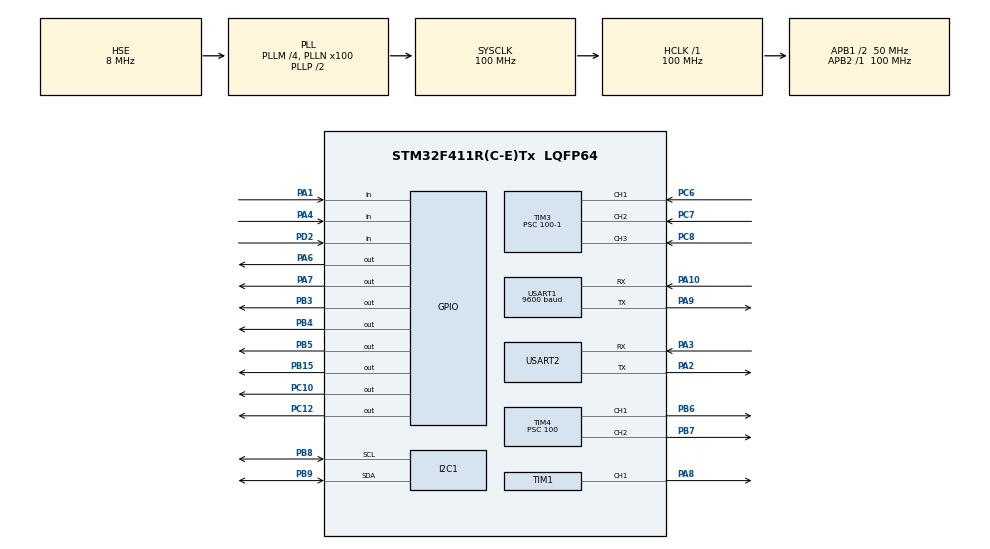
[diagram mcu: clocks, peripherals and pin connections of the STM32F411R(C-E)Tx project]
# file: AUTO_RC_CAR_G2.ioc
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Dma.Request0=USART2_RX
Dma.Request1=USART1_RX
Dma.USART1_RX.1.Direction=DMA_PERIPH_TO_MEMORY
Dma.USART1_RX.1.FIFOMode=DMA_FIFOMODE_DISABLE
Dma.USART1_RX.1.Instance=DMA2_Stream2
Dma.USART1_RX.1.MemDataAlignment=DMA_MDATAALIGN_BYTE
Dma.USART1_RX.1.MemInc=DMA_MINC_ENABLE
Dma.USART1_RX.1.Mode=DMA_NORMAL
Dma.USART1_RX.1.PeriphDataAlignment=DMA_PDATAALIGN_BYTE
Dma.USART1_RX.1.PeriphInc=DMA_PINC_DISABLE
Dma.USART1_RX.1.Priority=DMA_PRIORITY_LOW
Dma.USART2_RX.0.Direction=DMA_PERIPH_TO_MEMORY
Dma.USART2_RX.0.FIFOMode=DMA_FIFOMODE_DISABLE
Dma.USART2_RX.0.Instance=DMA1_Stream5
Dma.USART2_RX.0.MemDataAlignment=DMA_MDATAALIGN_BYTE
Dma.USART2_RX.0.MemInc=DMA_MINC_ENABLE
Dma.USART2_RX.0.Mode=DMA_NORMAL
Dma.USART2_RX.0.PeriphDataAlignment=DMA_PDATAALIGN_BYTE
Dma.USART2_RX.0.PeriphInc=DMA_PINC_DISABLE
Dma.USART2_RX.0.Priority=DMA_PRIORITY_LOW
FREERTOS.Tasks01=MotorCTR,8,128,MotorCTRTask,Default,NULL,Dynamic,NULL,NULL;StateOutput,8,128,StateOutputTask,Default,NULL,Dynamic,NULL,NULL;BluetoothCTR,8,128,BluetoothCTRTask,Default,NULL,Dynamic,NULL,NULL;ModeCTR,8,128,ModeCTRTask,Default,NULL,Dynamic,NULL,NULL;UltrasonicCTR,8,128,UltrasonicCTRTask,Default,NULL,Dynamic,NULL,NULL;AutoCTR,8,128,AutoCTRTask,Default,NULL,Dynamic,NULL,NULL
FREERTOS.configUSE_NEWLIB_REENTRANT=1
Mcu.Family=STM32F4
Mcu.Name=STM32F411R(C-E)Tx
Mcu.Package=LQFP64
NVIC.DMA1_Stream5_IRQn=true\:5\:0\:false\:false\:true\:true\:false\:true\:true
NVIC.DMA2_Stream2_IRQn=true\:5\:0\:false\:false\:true\:true\:false\:true\:true
NVIC.PriorityGroup=NVIC_PRIORITYGROUP_4
NVIC.TIM1_UP_TIM10_IRQn=true\:5\:0\:false\:false\:true\:false\:false\:true\:true
NVIC.TIM3_IRQn=true\:5\:0\:false\:false\:true\:true\:true\:true\:true
NVIC.TimeBase=TIM1_UP_TIM10_IRQn
NVIC.TimeBaseIP=TIM10
NVIC.USART2_IRQn=true\:5\:0\:false\:false\:true\:true\:true\:true\:true
PA1.GPIO_PuPd=GPIO_PULLUP
PA1.Signal=GPIO_Input
PA10.Mode=Asynchronous
PA10.Signal=USART1_RX
PA13.Mode=Serial_Wire
PA13.Signal=SYS_JTMS-SWDIO
PA14.Mode=Serial_Wire
PA14.Signal=SYS_JTCK-SWCLK
PA2.Mode=Asynchronous
PA2.Signal=USART2_TX
PA3.Mode=Asynchronous
PA3.Signal=USART2_RX
PA4.GPIO_PuPd=GPIO_PULLUP
PA4.Signal=GPIO_Input
PA6.GPIO_Speed=GPIO_SPEED_FREQ_VERY_HIGH
PA6.Signal=GPIO_Output
PA7.GPIO_Speed=GPIO_SPEED_FREQ_VERY_HIGH
PA7.Signal=GPIO_Output
PA8.Signal=S_TIM1_CH1
PA9.Mode=Asynchronous
PA9.Signal=USART1_TX
PB15.GPIO_Speed=GPIO_SPEED_FREQ_VERY_HIGH
PB15.Signal=GPIO_Output
PB3.GPIO_Speed=GPIO_SPEED_FREQ_HIGH
PB3.Signal=GPIO_Output
PB4.GPIO_Speed=GPIO_SPEED_FREQ_HIGH
PB4.Signal=GPIO_Output
PB5.GPIO_Speed=GPIO_SPEED_FREQ_HIGH
PB5.Signal=GPIO_Output
PB6.GPIO_Speed=GPIO_SPEED_FREQ_HIGH
PB6.Signal=S_TIM4_CH1
PB7.GPIO_Speed=GPIO_SPEED_FREQ_HIGH
PB7.Signal=S_TIM4_CH2
PB8.Mode=I2C
PB8.Signal=I2C1_SCL
PB9.Mode=I2C
PB9.Signal=I2C1_SDA
PC10.Signal=GPIO_Output
PC12.GPIO_Speed=GPIO_SPEED_FREQ_VERY_HIGH
PC12.Signal=GPIO_Output
PC6.Signal=S_TIM3_CH1
PC7.Signal=S_TIM3_CH2
PC8.Signal=S_TIM3_CH3
PD2.GPIO_PuPd=GPIO_PULLUP
PD2.Signal=GPIO_Input
PH0\ -\ OSC_IN.Mode=HSE-External-Oscillator
PH0\ -\ OSC_IN.Signal=RCC_OSC_IN
PH1\ -\ OSC_OUT.Mode=HSE-External-Oscillator
PH1\ -\ OSC_OUT.Signal=RCC_OSC_OUT
ProjectManager.HeapSize=0x200
ProjectManager.StackSize=0x400
ProjectManager.TargetToolchain=STM32CubeIDE
RCC.48MHZClocksFreq_Value=50000000
RCC.AHBFreq_Value=100000000
RCC.APB1CLKDivider=RCC_HCLK_DIV2
RCC.APB1Freq_Value=50000000
RCC.APB1TimFreq_Value=100000000
RCC.APB2Freq_Value=100000000
RCC.APB2TimFreq_Value=100000000
RCC.CortexFreq_Value=100000000
RCC.HCLKFreq_Value=100000000
RCC.HSE_VALUE=8000000
RCC.HSI_VALUE=16000000
RCC.LSE_VALUE=32768
RCC.PLLM=4
RCC.PLLN=100
RCC.PLLSourceVirtual=RCC_PLLSOURCE_HSE
RCC.SYSCLKFreq_VALUE=100000000
RCC.SYSCLKSource=RCC_SYSCLKSOURCE_PLLCLK
RCC.VCOOutputFreq_Value=200000000
SH.S_TIM1_CH1.0=TIM1_CH1,PWM Generation1 CH1
SH.S_TIM3_CH1.0=TIM3_CH1,Input_Capture1_from_TI1
SH.S_TIM3_CH2.0=TIM3_CH2,Input_Capture2_from_TI2
SH.S_TIM3_CH3.0=TIM3_CH3,Input_Capture3_from_TI3
SH.S_TIM4_CH1.0=TIM4_CH1,PWM Generation1 CH1
SH.S_TIM4_CH2.0=TIM4_CH2,PWM Generation2 CH2
TIM1.Channel-PWM\ Generation1\ CH1=TIM_CHANNEL_1
TIM1.Period=1000-1
TIM1.Prescaler=2000-1
TIM11.Prescaler=100-1
TIM3.Channel-Input_Capture1_from_TI1=TIM_CHANNEL_1
TIM3.Channel-Input_Capture2_from_TI2=TIM_CHANNEL_2
TIM3.Channel-Input_Capture3_from_TI3=TIM_CHANNEL_3
TIM3.ICFilter_CH1=7
TIM3.ICFilter_CH2=7
TIM3.ICFilter_CH3=7
TIM3.Prescaler=100-1
TIM4.Channel-PWM\ Generation1\ CH1=TIM_CHANNEL_1
TIM4.Channel-PWM\ Generation2\ CH2=TIM_CHANNEL_2
TIM4.Period=1000-1
TIM4.Prescaler=100
USART1.BaudRate=9600
USART1.VirtualMode=VM_ASYNC
USART2.VirtualMode=VM_ASYNC
VP_FREERTOS_VS_CMSIS_V2.Mode=CMSIS_V2
VP_SYS_VS_tim10.Mode=TIM10
VP_TIM11_VS_ClockSourceINT.Mode=Enable_Timer
VP_TIM1_VS_ClockSourceINT.Mode=Internal
VP_TIM3_VS_ClockSourceINT.Mode=Internal
VP_TIM4_VS_ClockSourceINT.Mode=Internal
board=custom

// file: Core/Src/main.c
/* USER CODE BEGIN Header */
/**
  ******************************************************************************
  * @file           : main.c
  * @brief          : Main program body
  ******************************************************************************
  * @attention
  *
  * Copyright (c) 2025 STMicroelectronics.
  * All rights reserved.
  *
  * This software is licensed under terms that can be found in the LICENSE file
  * in the root directory of this software component.
  * If no LICENSE file comes with this software, it is provided AS-IS.
  *
  ******************************************************************************
  */
/* USER CODE END Header */
#include "main.h"
#include "cmsis_os.h"
#include "dma.h"
#include "i2c.h"
#include "tim.h"
#include "usart.h"
#include "gpio.h"

/* USER CODE BEGIN Includes */
#include "button.h"
#include "buzzer.h"
#include "delay_us.h"
#include "fnd.h"
#include "lcd.h"
#include "motor.h"
#include "ultrasonic.h"
/* USER CODE END Includes */

void SystemClock_Config(void);
void MX_FREERTOS_Init(void);

int main(void)
{

  /* MCU Configuration--------------------------------------------------------*/

  /* Reset of all peripherals, Initializes the Flash interface and the Systick. */
  HAL_Init();

  /* Configure the system clock */
  SystemClock_Config();

  /* Initialize all configured peripherals */
  MX_GPIO_Init();
  MX_DMA_Init();
  MX_TIM4_Init();
  MX_USART2_UART_Init();
  MX_USART1_UART_Init();
  MX_TIM11_Init();
  MX_TIM3_Init();
  MX_TIM1_Init();
  MX_I2C1_Init();
  /* USER CODE BEGIN 2 */
  // Buzzer Timer PWM
  HAL_TIM_PWM_Start(&htim1, TIM_CHANNEL_1);
  // Ultrasonic Timer Interrupt
  HAL_TIM_IC_Start_IT(&htim3, TIM_CHANNEL_1);
  HAL_TIM_IC_Start_IT(&htim3, TIM_CHANNEL_2);
  HAL_TIM_IC_Start_IT(&htim3, TIM_CHANNEL_3);
  // Motor Timer PWM
  HAL_TIM_PWM_Start(&htim4, TIM_CHANNEL_1);
  HAL_TIM_PWM_Start(&htim4, TIM_CHANNEL_2);
  // delay_us Timer
  HAL_TIM_Base_Start(&htim11);
  // LCD Initialize
  i2cLCD_Init();
  /* USER CODE END 2 */

  /* Init scheduler */
  osKernelInitialize();  /* Call init function for freertos objects (in cmsis_os2.c) */
  MX_FREERTOS_Init();

  /* Start scheduler */
  osKernelStart();

  /* We should never get here as control is now taken by the scheduler */

  /* Infinite loop */
  while (1)
  {

  }
}

void SystemClock_Config(void)
{
  RCC_OscInitTypeDef RCC_OscInitStruct = {0};
  RCC_ClkInitTypeDef RCC_ClkInitStruct = {0};

  /** Configure the main internal regulator output voltage
  */
  __HAL_RCC_PWR_CLK_ENABLE();
  __HAL_PWR_VOLTAGESCALING_CONFIG(PWR_REGULATOR_VOLTAGE_SCALE1);

  /** Initializes the RCC Oscillators according to the specified parameters
  * in the RCC_OscInitTypeDef structure.
  */
  RCC_OscInitStruct.OscillatorType = RCC_OSCILLATORTYPE_HSE;
  RCC_OscInitStruct.HSEState = RCC_HSE_ON;
  RCC_OscInitStruct.PLL.PLLState = RCC_PLL_ON;
  RCC_OscInitStruct.PLL.PLLSource = RCC_PLLSOURCE_HSE;
  RCC_OscInitStruct.PLL.PLLM = 4;
  RCC_OscInitStruct.PLL.PLLN = 100;
  RCC_OscInitStruct.PLL.PLLP = RCC_PLLP_DIV2;
  RCC_OscInitStruct.PLL.PLLQ = 4;
  if (HAL_RCC_OscConfig(&RCC_OscInitStruct) != HAL_OK)
  {
    Error_Handler();
  }

  /** Initializes the CPU, AHB and APB buses clocks
  */
  RCC_ClkInitStruct.ClockType = RCC_CLOCKTYPE_HCLK|RCC_CLOCKTYPE_SYSCLK
                              |RCC_CLOCKTYPE_PCLK1|RCC_CLOCKTYPE_PCLK2;
  RCC_ClkInitStruct.SYSCLKSource = RCC_SYSCLKSOURCE_PLLCLK;
  RCC_ClkInitStruct.AHBCLKDivider = RCC_SYSCLK_DIV1;
  RCC_ClkInitStruct.APB1CLKDivider = RCC_HCLK_DIV2;
  RCC_ClkInitStruct.APB2CLKDivider = RCC_HCLK_DIV1;

  if (HAL_RCC_ClockConfig(&RCC_ClkInitStruct, FLASH_LATENCY_3) != HAL_OK)
  {
    Error_Handler();
  }
}

void HAL_TIM_PeriodElapsedCallback(TIM_HandleTypeDef *htim)
{
  if (htim->Instance == TIM10)
  {
    HAL_IncTick();
  }
}

void Error_Handler(void)
{
  __disable_irq();
  while (1)
  {
  }
}

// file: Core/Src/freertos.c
/* USER CODE BEGIN Header */
/**
  ******************************************************************************
  * File Name          : freertos.c
  * Description        : Code for freertos applications
  ******************************************************************************
  * @attention
  *
  * Copyright (c) 2025 STMicroelectronics.
  * All rights reserved.
  *
  * This software is licensed under terms that can be found in the LICENSE file
  * in the root directory of this software component.
  * If no LICENSE file comes with this software, it is provided AS-IS.
  *
  ******************************************************************************
  */
/* USER CODE END Header */

#include "FreeRTOS.h"
#include "task.h"
#include "main.h"
#include "cmsis_os.h"

/* USER CODE BEGIN Includes */
#include "dma.h"
#include "i2c.h"
#include "tim.h"
#include "usart.h"
#include "gpio.h"

#include "stdio.h"

#include "button.h"
#include "buzzer.h"
#include "delay_us.h"
#include "fnd.h"
#include "lcd.h"
#include "motor.h"
#include "ultrasonic.h"
/* USER CODE END Includes */

/* USER CODE BEGIN PD */
#define SPEED_BASE				450
#define SPEED_RATIO				0.1
#define SPEED_M_BT				60

#define DIST_STD_1				14
#define DIST_STD_2				19
#define DIST_STD_3				26
#define DIST_STD_4				40

#define DIST_STD_11				15
#define DIST_STD_12				25
#define DIST_STD_13				35
#define DIST_STD_14				45

#define BUZZER_TICK				50

#define PHOTO_PORT_1				GPIOA
#define PHOTO_PIN_1				GPIO_PIN_1
#define PHOTO_PORT_2				GPIOA
#define PHOTO_PIN_2				GPIO_PIN_4

/* USER CODE END PD */

/* USER CODE BEGIN PM */
#ifdef __GNUC__
/* With GCC small printf (option LD Linker->Libraries->Small printf
 * set to 'Yes') calls __io_putchar() */
#define PUTCHAR_PROTOTYPE int  __io_putchar(int ch)
#else
#define PUTCHAR_PROTOTYPE int  fputc(int ch, FILE *f)
#endif /* __GNUC__*/

/** @brief Retargets the C library printf function to the USART.
 *  @param None
 *  @retval None
 */
PUTCHAR_PROTOTYPE {
  /* Place your implementation of fputc here */
  /* e.g. write a character to the USART2 and Loop
     until the end of transmission */
  if(ch == '\n')
    HAL_UART_Transmit(&huart2, (uint8_t*) "\r", 1, 0xFFFF);
    HAL_UART_Transmit(&huart2, (uint8_t*) &ch, 1, 0xFFFF);
}
/* USER CODE END PM */

/* USER CODE BEGIN Variables */
uint8_t rxData_1 = 0, rxData_2 = 0;
uint8_t mcMode;
uint16_t baseSpeed_0 = 0;
uint16_t baseSpeed_1 = 0;
uint16_t baseSpeed_2 = 0;
uint16_t mtSpeed_R = 0, mtSpeed_L = 0;

uint8_t ctrMode = 0;

uint8_t btMode = 'S';
uint8_t btSpeed = 0;

extern uint8_t distCenter, distLeft, distRight;

uint32_t tickCur_1 = 0, tickLast_1 = 0;		// Buzzer Tick
uint8_t buzzerFlag_1 = 0, songIndex_1 = 0;	// 일반 Buzzer
uint8_t buzzerFlag_2 = 0, songIndex_2 = 0;	// 후진 Buzzer

uint8_t lcdMode = 0;

uint8_t rxPhoto_1 = 0, rxPhoto_2 = 0;
uint8_t photoFlag_1 = 0, photoFlag_2 = 0;
uint16_t countRight = 0, countLeft = 0;
uint32_t tickCur_2 = 0, tickLast_2 = 0;		// PhotoInterrupt Tick
uint8_t mpmRight = 0, mpmLeft = 0;
char mpmSpeed[16];
/* USER CODE END Variables */
/* Definitions for MotorCTR */
osThreadId_t MotorCTRHandle;
const osThreadAttr_t MotorCTR_attributes = {
  .name = "MotorCTR",
  .stack_size = 128 * 4,
  .priority = (osPriority_t) osPriorityLow,
};
/* Definitions for StateOutput */
osThreadId_t StateOutputHandle;
const osThreadAttr_t StateOutput_attributes = {
  .name = "StateOutput",
  .stack_size = 128 * 4,
  .priority = (osPriority_t) osPriorityLow,
};
/* Definitions for BluetoothCTR */
osThreadId_t BluetoothCTRHandle;
const osThreadAttr_t BluetoothCTR_attributes = {
  .name = "BluetoothCTR",
  .stack_size = 128 * 4,
  .priority = (osPriority_t) osPriorityLow,
};
/* Definitions for ModeCTR */
osThreadId_t ModeCTRHandle;
const osThreadAttr_t ModeCTR_attributes = {
  .name = "ModeCTR",
  .stack_size = 128 * 4,
  .priority = (osPriority_t) osPriorityLow,
};
/* Definitions for UltrasonicCTR */
osThreadId_t UltrasonicCTRHandle;
const osThreadAttr_t UltrasonicCTR_attributes = {
  .name = "UltrasonicCTR",
  .stack_size = 128 * 4,
  .priority = (osPriority_t) osPriorityLow,
};
/* Definitions for AutoCTR */
osThreadId_t AutoCTRHandle;
const osThreadAttr_t AutoCTR_attributes = {
  .name = "AutoCTR",
  .stack_size = 128 * 4,
  .priority = (osPriority_t) osPriorityLow,
};

/* USER CODE BEGIN FunctionPrototypes */
void HAL_UART_RxCpltCallback(UART_HandleTypeDef *huart) {
	if (huart->Instance == USART1) {
		if (rxData_1 == 'Y') {
			buttonFlag = 1;
		}

		if (rxData_1 > 200) {
			btSpeed = 0;
			btMode = 0;
		}
		else if (rxData_1 >= 48 && rxData_1 <= 57) {
			btSpeed = rxData_1 - 48;
		}
		else if (rxData_1 > 64) {
			btMode = rxData_1;
		}
		HAL_UART_Receive_DMA(&huart1, &rxData_1, 1);
	}

	if (huart->Instance == USART2) {
		HAL_UART_Receive_DMA(&huart2, &rxData_2, 1);
	}
}

/* USER CODE END FunctionPrototypes */

void MotorCTRTask(void *argument);
void StateOutputTask(void *argument);
void BluetoothCTRTask(void *argument);
void ModeCTRTask(void *argument);
void UltrasonicCTRTask(void *argument);
void AutoCTRTask(void *argument);

void MX_FREERTOS_Init(void); /* (MISRA C 2004 rule 8.1) */

void MX_FREERTOS_Init(void) {
  /* USER CODE BEGIN Init */
HAL_UART_Receive_DMA(&huart1, &rxData_1, 1);
HAL_UART_Receive_DMA(&huart2, &rxData_2, 1);
  /* USER CODE END Init */

  /* Create the thread(s) */
  /* creation of MotorCTR */
  MotorCTRHandle = osThreadNew(MotorCTRTask, NULL, &MotorCTR_attributes);

  /* creation of StateOutput */
  StateOutputHandle = osThreadNew(StateOutputTask, NULL, &StateOutput_attributes);

  /* creation of BluetoothCTR */
  BluetoothCTRHandle = osThreadNew(BluetoothCTRTask, NULL, &BluetoothCTR_attributes);

  /* creation of ModeCTR */
  ModeCTRHandle = osThreadNew(ModeCTRTask, NULL, &ModeCTR_attributes);

  /* creation of UltrasonicCTR */
  UltrasonicCTRHandle = osThreadNew(UltrasonicCTRTask, NULL, &UltrasonicCTR_attributes);

  /* creation of AutoCTR */
  AutoCTRHandle = osThreadNew(AutoCTRTask, NULL, &AutoCTR_attributes);

}

void MotorCTRTask(void *argument)
{
  /* USER CODE BEGIN MotorCTRTask */
  /* Infinite loop */
	for(;;) {
		motorSelect(mcMode);
		baseSpeed_0 = SPEED_BASE + (btSpeed * SPEED_M_BT);

		TIM4->CCR2 = mtSpeed_R;
		TIM4->CCR1 = mtSpeed_L;

		rxPhoto_1 = HAL_GPIO_ReadPin(PHOTO_PORT_1, PHOTO_PIN_1);
		rxPhoto_2 = HAL_GPIO_ReadPin(PHOTO_PORT_2, PHOTO_PIN_2);

		if (rxPhoto_1 == 1 && rxPhoto_1 != photoFlag_1) {
			countRight++;
			photoFlag_1 = rxPhoto_1;
		}
		else if (rxPhoto_1 == 0) {
			photoFlag_1 = rxPhoto_1;
		}

		if (rxPhoto_2 == 1 && rxPhoto_2 != photoFlag_2) {
			countLeft++;
			photoFlag_2 = rxPhoto_2;
		}
		else if (rxPhoto_2 == 0) {
			photoFlag_2 = rxPhoto_2;
		}

		tickCur_2 = xTaskGetTickCount();

		if ((tickCur_2 - tickLast_2) > 1000) {
			mpmRight = (countRight * 63) / 100;
			mpmLeft = (countLeft * 63) / 100;
			sprintf(mpmSpeed, " R %2d L %2d mpm  ", mpmRight, mpmLeft);

			countRight = 0;
			countLeft = 0;
			tickLast_2 = tickCur_2;
		}

		osDelay(1);
	}
  /* USER CODE END MotorCTRTask */
}

void StateOutputTask(void *argument)
{
  /* USER CODE BEGIN StateOutputTask */
  /* Infinite loop */
	for(;;) {
		moveCursor(0, 0);
		switch (ctrMode) {
			case 1:
				lcdString("BT Mode ");
				break;
			case 2:
				lcdString("AutoMode");
				break;
			case 4: case 6: case 8:
				lcdString("AutoTest");
				break;
			default:
				lcdString("Ready   ");
				break;
		}

		moveCursor(0, 8);
		switch (mcMode) {
			case 0: case 7:
				lcdString(" Stop   ");
				break;
			case 1:
				lcdString(" Front  ");
				break;
			case 2:
				lcdString(" Back   ");
				break;
			case 3: case 5:
				lcdString(" Left   ");
				break;
			case 4: case 6:
				lcdString(" Right  ");
				break;
			default:
				lcdString("        ");
				break;
		}

		moveCursor(1, 0);
		lcdString(mpmSpeed);

		fndOut(ctrMode);

		if (ctrMode == 1 && rxData_1 == 'X') {
			buzzerFlag_1 = 1;
		}
		else if (ctrMode == 1 && rxData_1 == 'x') {
			buzzerFlag_1 = 0;
		}
		else if (ctrMode == 2) {
			buzzerFlag_1 = 1;
		}
		else {
			buzzerFlag_1 = 0;
		}

		if (ctrMode == 1 && mcMode == 2) {
			buzzerFlag_2 = 1;
		}
		else {
			buzzerFlag_2 = 0;
		}

		tickCur_1 = xTaskGetTickCount();

		if (buzzerFlag_1 == 1) {
			if ((tickCur_1 - tickLast_1) >= (BUZZER_TICK * songLength_4[songIndex_1])) {
				songIndex_1++;
				if (songIndex_1 >= songNote_4_Len) {
					songIndex_1 = 0;
				}
				tickLast_1 = tickCur_1;
			}
			buzzerStart(songNote_4[songIndex_1], baseSpeed_0);
		}
		else if (buzzerFlag_1 == 0 && buzzerFlag_2 == 1) {
			if ((tickCur_1 - tickLast_1) >= (BUZZER_TICK * songLength_2[songIndex_2])) {
				songIndex_2++;
				if (songIndex_2 >= songNote_2_Len) {
					songIndex_2 = 0;
				}
				tickLast_1 = tickCur_1;
			}
			buzzerStart(songNote_2[songIndex_2], baseSpeed_0);
		}
		else if (buzzerFlag_1 == 0 && buzzerFlag_2 == 0) {
			buzzerStart(24, 0);
		}

		osDelay(10);
	}
  /* USER CODE END StateOutputTask */
}

void BluetoothCTRTask(void *argument)
{
  /* USER CODE BEGIN BluetoothCTRTask */

  /* Infinite loop */
	for(;;) {
		if (ctrMode == 1) {
			if (btMode == 'S') {
				mcMode = 0;
				mtSpeed_R = 0;
				mtSpeed_L = 0;
			}
			else if (btMode == 'F') {
				mcMode = 1;
				mtSpeed_R = baseSpeed_0;
				mtSpeed_L = baseSpeed_0;
			}
			else if (btMode == 'B') {
				mcMode = 2;
				mtSpeed_R = baseSpeed_0;
				mtSpeed_L = baseSpeed_0;
			}
			else if (btMode == 'L') {
				mcMode = 5;
				mtSpeed_R = baseSpeed_0;
				mtSpeed_L = baseSpeed_0;
			}
			else if (btMode == 'R') {
				mcMode = 6;
				mtSpeed_R = baseSpeed_0;
				mtSpeed_L = baseSpeed_0;
			}
			else if (btMode == 'G') {
				mcMode = 1;
				mtSpeed_R = baseSpeed_0;
				mtSpeed_L = baseSpeed_0 * SPEED_RATIO;
			}
			else if (btMode == 'H') {
				mcMode = 1;
				mtSpeed_R = baseSpeed_0 * SPEED_RATIO;
				mtSpeed_L = baseSpeed_0;
			}
			else if (btMode == 'I') {
				mcMode = 2;
				mtSpeed_R = baseSpeed_0;
				mtSpeed_L = baseSpeed_0 * SPEED_RATIO;
			}
			else if (btMode == 'J') {
				mcMode = 2;
				mtSpeed_R = baseSpeed_0 * SPEED_RATIO;
				mtSpeed_L = baseSpeed_0;
			}
		}

		osDelay(10);
	}
  /* USER CODE END BluetoothCTRTask */
}

void ModeCTRTask(void *argument)
{
  /* USER CODE BEGIN ModeCTRTask */

  /* Infinite loop */
	for(;;) {
		if (buttonGetPressed(0)) {
			buttonFlag = 1;
		}

		if (buttonFlag == 1) {			// 정면 기준 1
			ctrMode++;
			buttonFlag = 0;
			rxData_1 = 'S';
			if (ctrMode >= 5) {
				ctrMode = 0;
			}
		}

		if (ctrMode == 0 || ctrMode == 3 || ctrMode == 5 || ctrMode == 7) {
			mcMode = 0;
			mtSpeed_R = 0;
			mtSpeed_L = 0;
		}

		osDelay(10);
	}
  /* USER CODE END ModeCTRTask */
}

void UltrasonicCTRTask(void *argument)
{
  /* USER CODE BEGIN UltrasonicCTRTask */

  /* Infinite loop */
	for(;;) {
		__HAL_TIM_SET_COUNTER(&htim3, 0);

		HCSR04_TRIG();
		osDelay(50);
	}
  /* USER CODE END UltrasonicCTRTask */
}

void AutoCTRTask(void *argument)
{
  /* USER CODE BEGIN AutoCTRTask */
  /* Infinite loop */
	for(;;) {
		//  자율주행 기본
		if (ctrMode == 2) {
			// 정면 기준 1
			if (distCenter <= DIST_STD_1) {
				if (distLeft <= DIST_STD_2) {
					if (distRight <= DIST_STD_3) {
						if (distLeft >= distRight) {
							mcMode = 3;
							mtSpeed_R = baseSpeed_0;
							mtSpeed_L = 0;
						}
						else if (distLeft < distRight) {
							mcMode = 4;
							mtSpeed_R = 0;
							mtSpeed_L = baseSpeed_0;
						}
					}
					else if (distRight > DIST_STD_3) {
						mcMode = 6;
						mtSpeed_R = baseSpeed_0 * SPEED_RATIO;
						mtSpeed_L = baseSpeed_0;
					}
				}

				else if (distLeft <= DIST_STD_3) {
					if (distRight <= DIST_STD_2) {
						mcMode = 3;
						mtSpeed_R = baseSpeed_0;
						mtSpeed_L = 0;
					}
					else if (distRight > DIST_STD_2) {
						if (distLeft >= distRight) {
							mcMode = 5;
							mtSpeed_R = baseSpeed_0;
							mtSpeed_L = baseSpeed_0 * SPEED_RATIO;
						}
						else if (distLeft < distRight) {
							mcMode = 6;
							mtSpeed_R = baseSpeed_0 * SPEED_RATIO;
							mtSpeed_L = baseSpeed_0;
						}
					}
				}

				else if (distLeft <= DIST_STD_4) {
					if (distRight <= DIST_STD_1) {
						mcMode = 3;
						mtSpeed_R = baseSpeed_0;
						mtSpeed_L = 0;
					}
					else if (distRight > DIST_STD_1) {
						if (distLeft >= distRight) {
							mcMode = 5;
							mtSpeed_R = baseSpeed_0;
							mtSpeed_L = baseSpeed_0 * SPEED_RATIO;
						}
						else if (distLeft < distRight) {
							mcMode = 6;
							mtSpeed_R = baseSpeed_0 * SPEED_RATIO;
							mtSpeed_L = baseSpeed_0;
						}
					}
				}

				else if (distLeft > DIST_STD_4) {
					if (distLeft >= distRight) {
						mcMode = 5;
						mtSpeed_R = baseSpeed_0;
						mtSpeed_L = baseSpeed_0 * SPEED_RATIO;
					}
					else if (distLeft < distRight) {
						mcMode = 6;
						mtSpeed_R = baseSpeed_0 * SPEED_RATIO;
						mtSpeed_L = baseSpeed_0;
					}
				}
			}

			// 정면 기준 2
			else if (distCenter <= DIST_STD_2) {
				if (distLeft <= DIST_STD_1) {
					if (distRight <= DIST_STD_2) {
						if (distLeft >= distRight) {
							mcMode = 3;
							mtSpeed_R = baseSpeed_0;
							mtSpeed_L = 0;
						}
						else if(distLeft < distRight) {
							mcMode = 4;
							mtSpeed_R = 0;
							mtSpeed_L = baseSpeed_0;
						}
					}
					else if (distRight > DIST_STD_2) {
						mcMode = 6;
						mtSpeed_R = baseSpeed_0 * SPEED_RATIO;
						mtSpeed_L = baseSpeed_0;
					}
				}

				else if (distLeft <= DIST_STD_2) {
					if (distRight <= DIST_STD_1) {
						mcMode = 3;
						mtSpeed_R = baseSpeed_0;
						mtSpeed_L = 0;
					}
					else if (distRight > DIST_STD_1) {
						if (distLeft >= distRight) {
							mcMode = 5;
							mtSpeed_R = baseSpeed_0;
							mtSpeed_L = baseSpeed_0 * SPEED_RATIO;
						}
						else if (distLeft < distRight) {
							mcMode = 6;
							mtSpeed_R = baseSpeed_0 * SPEED_RATIO;
							mtSpeed_L = baseSpeed_0;
						}
					}
				}

				else if (distLeft > DIST_STD_2) {
					if (distLeft >= distRight) {
						mcMode = 5;
						mtSpeed_R = baseSpeed_0;
						mtSpeed_L = baseSpeed_0 * SPEED_RATIO;
					}
					else if (distLeft < distRight) {
						mcMode = 6;
						mtSpeed_R = baseSpeed_0 * SPEED_RATIO;
						mtSpeed_L = baseSpeed_0;
					}
				}
			}

			// 정면 기준 3
			else if (distCenter <= DIST_STD_3) {
				if (distLeft <= DIST_STD_1) {
					if (distRight <= DIST_STD_1) {
						if (distLeft >= distRight) {
							mcMode = 3;
							mtSpeed_R = baseSpeed_0;
							mtSpeed_L = 0;
						}
						else if (distLeft < distRight) {
							mcMode = 4;
							mtSpeed_R = 0;
							mtSpeed_L = baseSpeed_0;
						}
					}
					else if (distRight > DIST_STD_1) {
						mcMode = 6;
						mtSpeed_R = baseSpeed_0 * SPEED_RATIO;
						mtSpeed_L = baseSpeed_0;
					}
				}

				else if (distLeft <= DIST_STD_4) {
					if (distLeft >= distRight) {
						mcMode = 5;
						mtSpeed_R = baseSpeed_0;
						mtSpeed_L = baseSpeed_0 * SPEED_RATIO;
					}
					else if (distLeft < distRight) {
						mcMode = 6;
						mtSpeed_R = baseSpeed_0 * SPEED_RATIO;
						mtSpeed_L = baseSpeed_0;
					}
				}

				else if (distLeft > DIST_STD_4) {
					if (distRight <= DIST_STD_4) {
						mcMode = 5;
						mtSpeed_R = baseSpeed_0;
						mtSpeed_L = baseSpeed_0 * SPEED_RATIO;
					}
					else if (distRight > DIST_STD_4) {
						mcMode = 1;
						mtSpeed_R = baseSpeed_0;
						mtSpeed_L = baseSpeed_0;
					}
				}
			}

			// 정면 기준 4
			else if (distCenter > DIST_STD_3) {
				if (distLeft <= DIST_STD_1) {
					if (distRight <= DIST_STD_1) {
						if (distLeft >= distRight) {
							mcMode = 3;
							mtSpeed_R = baseSpeed_0;
							mtSpeed_L = 0;
						}
						else if (distLeft < distRight) {
							mcMode = 4;
							mtSpeed_R = 0;
							mtSpeed_L = baseSpeed_0;
						}
					}
					else if (distRight > DIST_STD_1) {
						mcMode = 6;
						mtSpeed_R = baseSpeed_0 * SPEED_RATIO;
						mtSpeed_L = baseSpeed_0;
					}
				}

				else if (distLeft <= DIST_STD_3) {
					if (distLeft >= distRight) {
						mcMode = 5;
						mtSpeed_R = baseSpeed_0;
						mtSpeed_L = baseSpeed_0 * SPEED_RATIO;
					}
					else if (distLeft < distRight) {
						mcMode = 6;
						mtSpeed_R = baseSpeed_0 * SPEED_RATIO;
						mtSpeed_L = baseSpeed_0;
					}
				}

				else if (distLeft > DIST_STD_3) {
					if (distRight <= DIST_STD_3) {
						mcMode = 5;
						mtSpeed_R = baseSpeed_0;
						mtSpeed_L = baseSpeed_0 * SPEED_RATIO;
					}
					else if (distRight > DIST_STD_3) {
						mcMode = 1;
						mtSpeed_R = baseSpeed_0;
						mtSpeed_L = baseSpeed_0;
					}
				}
			}
		}

		// 자율주행 Test 1
		else if (ctrMode == 4) {

		}

		// 자율주행 Test 2
		else if (ctrMode == 6) {

		}

		// 자율주행 Test 3
		else if (ctrMode == 8) {

		}

		else if (ctrMode == 9) {
/*			// Test Base
 * 			// 정면 기준 1
			if (distCenter <= DIST_STD_1) {
				if (distLeft <= DIST_STD_1) {
					if (distRight <= DIST_STD_1) {
						if (distLeft >= distRight) {
							mcMode = 3;
							mtSpeed_R = baseSpeed_0;
							mtSpeed_L = 0;
						}
						else if (distLeft < distRight) {
							mcMode = 4;
							mtSpeed_R = 0;
							mtSpeed_L = baseSpeed_0;
						}
					}
					else if (distRight <= DIST_STD_4) {
						mcMode = 4;
						mtSpeed_R = 0;
						mtSpeed_L = baseSpeed_0;
					}
					else if (distRight > DIST_STD_4) {
						mcMode = 6;
						mtSpeed_R = baseSpeed_0 * SPEED_RATIO;
						mtSpeed_L = baseSpeed_0;
					}
				}
				else if (distLeft <= DIST_STD_2) {
					if (distRight <= DIST_STD_1) {
						mcMode = 3;
						mtSpeed_R = baseSpeed_0;
						mtSpeed_L = 0;
					}
					else if (distRight <= DIST_STD_2) {
						if (distLeft >= distRight) {
							mcMode = 3;
							mtSpeed_R = baseSpeed_0;
							mtSpeed_L = 0;
						}
						else if (distLeft < distRight) {
							mcMode = 4;
							mtSpeed_R = 0;
							mtSpeed_L = baseSpeed_0;
						}
					}
					else if (distRight <= DIST_STD_3) {
						mcMode = 4;
						mtSpeed_R = 0;
						mtSpeed_L = baseSpeed_0;
					}
					else if (distRight > DIST_STD_3) {
						mcMode = 6;
						mtSpeed_R = baseSpeed_0 * SPEED_RATIO;
						mtSpeed_L = baseSpeed_0;
					}
				}
				else if (distLeft <= DIST_STD_3) {
					if (distRight <= DIST_STD_2) {
						mcMode = 3;
						mtSpeed_R = baseSpeed_0;
						mtSpeed_L = 0;
					}
					else if (distRight <= DIST_STD_3) {
						if (distLeft >= distRight) {
							mcMode = 5;
							mtSpeed_R = baseSpeed_0;
							mtSpeed_L = baseSpeed_0 * SPEED_RATIO;
						}
						else if (distLeft < distRight) {
							mcMode = 6;
							mtSpeed_R = baseSpeed_0 * SPEED_RATIO;
							mtSpeed_L = baseSpeed_0;
						}
					}
					else if (distRight <= DIST_STD_4) {
						mcMode = 6;
						mtSpeed_R = baseSpeed_0 * SPEED_RATIO;
						mtSpeed_L = baseSpeed_0;
					}
					else if (distRight > DIST_STD_4) {
						mcMode = 6;
						mtSpeed_R = baseSpeed_0 * SPEED_RATIO;
						mtSpeed_L = baseSpeed_0;
					}
				}
				else if (distLeft <= DIST_STD_4) {
					if (distRight <= DIST_STD_1) {
						mcMode = 3;
						mtSpeed_R = baseSpeed_0;
						mtSpeed_L = 0;
					}
					else if (distRight <= DIST_STD_3) {
						mcMode = 5;
						mtSpeed_R = baseSpeed_0;
						mtSpeed_L = baseSpeed_0 * SPEED_RATIO;
					}
					else if (distRight <= DIST_STD_4) {
						if (distLeft >= distRight) {
							mcMode = 5;
							mtSpeed_R = baseSpeed_0;
							mtSpeed_L = baseSpeed_0 * SPEED_RATIO;
						}
						else if (distLeft < distRight) {
							mcMode = 6;
							mtSpeed_R = baseSpeed_0 * SPEED_RATIO;
							mtSpeed_L = baseSpeed_0;
						}
					}
					else if (distRight > DIST_STD_4) {
						mcMode = 6;
						mtSpeed_R = baseSpeed_0 * SPEED_RATIO;
						mtSpeed_L = baseSpeed_0;
					}
				}
				else if (distLeft > DIST_STD_4) {
					if (distRight <= DIST_STD_3) {
						mcMode = 5;
						mtSpeed_R = baseSpeed_0;
						mtSpeed_L = baseSpeed_0 * SPEED_RATIO;
					}
					else if (distRight <= DIST_STD_4) {
						mcMode = 5;
						mtSpeed_R = baseSpeed_0;
						mtSpeed_L = baseSpeed_0 * SPEED_RATIO;

					}
					else if (distRight > DIST_STD_4) {
						if (distLeft >= distRight) {
							mcMode = 5;
							mtSpeed_R = baseSpeed_0;
							mtSpeed_L = baseSpeed_0 * SPEED_RATIO;
						}
						else if (distLeft < distRight) {
							mcMode = 6;
							mtSpeed_R = baseSpeed_0 * SPEED_RATIO;
							mtSpeed_L = baseSpeed_0;
						}
					}
				}
			}

			// 정면 기준 2
			else if (distCenter <= DIST_STD_2) {
				if (distLeft <= DIST_STD_1) {
					if (distRight <= DIST_STD_1) {
						if (distLeft >= distRight) {
							mcMode = 3;
							mtSpeed_R = baseSpeed_0;
							mtSpeed_L = 0;
						}
						else if(distLeft < distRight) {
							mcMode = 4;
							mtSpeed_R = 0;
							mtSpeed_L = baseSpeed_0;
						}
					}
					else if (distRight <= DIST_STD_2) {
						mcMode = 4;
						mtSpeed_R = 0;
						mtSpeed_L = baseSpeed_0;
					}
					else if (distRight > DIST_STD_2) {
						mcMode = 6;
						mtSpeed_R = baseSpeed_0 * SPEED_RATIO;
						mtSpeed_L = baseSpeed_0;
					}
				}
				else if (distLeft <= DIST_STD_2) {
					if (distRight <= DIST_STD_1) {
						mcMode = 3;
						mtSpeed_R = baseSpeed_0;
						mtSpeed_L = 0;
					}
					else if (distRight <= DIST_STD_2) {
						if (distLeft >= distRight) {
							mcMode = 5;
							mtSpeed_R = baseSpeed_0;
							mtSpeed_L = baseSpeed_0 * SPEED_RATIO;
						}
						else if (distLeft < distRight) {
							mcMode = 6;
							mtSpeed_R = baseSpeed_0 * SPEED_RATIO;
							mtSpeed_L = baseSpeed_0;
						}
					}
					else if (distRight <= DIST_STD_3) {
						mcMode = 6;
						mtSpeed_R = baseSpeed_0 * SPEED_RATIO;
						mtSpeed_L = baseSpeed_0;
					}
					else if (distRight > DIST_STD_3) {
						mcMode = 6;
						mtSpeed_R = baseSpeed_0 * SPEED_RATIO;
						mtSpeed_L = baseSpeed_0;
					}
				}
				else if (distLeft <= DIST_STD_3) {
					if (distRight <= DIST_STD_2) {
						mcMode = 5;
						mtSpeed_R = baseSpeed_0;
						mtSpeed_L = baseSpeed_0 * SPEED_RATIO;
					}
					else if (distRight <= DIST_STD_3) {
						if (distLeft >= distRight) {
							mcMode = 5;
							mtSpeed_R = baseSpeed_0;
							mtSpeed_L = baseSpeed_0 * SPEED_RATIO;
						}
						else if (distLeft < distRight) {
							mcMode = 6;
							mtSpeed_R = baseSpeed_0 * SPEED_RATIO;
							mtSpeed_L = baseSpeed_0;
						}
					}
					else if (distRight <= DIST_STD_4) {
						mcMode = 6;
						mtSpeed_R = baseSpeed_0 * SPEED_RATIO;
						mtSpeed_L = baseSpeed_0;
					}
					else if (distRight > DIST_STD_4) {
						mcMode = 6;
						mtSpeed_R = baseSpeed_0 * SPEED_RATIO;
						mtSpeed_L = baseSpeed_0;
					}
				}
				else if (distLeft <= DIST_STD_4) {
					if (distRight <= DIST_STD_1) {
						mcMode = 5;
						mtSpeed_R = baseSpeed_0;
						mtSpeed_L = baseSpeed_0 * SPEED_RATIO;
					}
					else if (distRight <= DIST_STD_3) {
						mcMode = 5;
						mtSpeed_R = baseSpeed_0;
						mtSpeed_L = baseSpeed_0 * SPEED_RATIO;
					}
					else if (distRight <= DIST_STD_4) {
						if (distLeft >= distRight) {
							mcMode = 5;
							mtSpeed_R = baseSpeed_0;
							mtSpeed_L = baseSpeed_0 * SPEED_RATIO;
						}
						else if (distLeft < distRight) {
							mcMode = 6;
							mtSpeed_R = baseSpeed_0 * SPEED_RATIO;
							mtSpeed_L = baseSpeed_0;
						}
					}
					else if (distRight > DIST_STD_4) {
						mcMode = 6;
						mtSpeed_R = baseSpeed_0 * SPEED_RATIO;
						mtSpeed_L = baseSpeed_0;
					}
				}
				else if (distLeft > DIST_STD_4) {
					if (distRight <= DIST_STD_1) {
						mcMode = 5;
						mtSpeed_R = baseSpeed_0;
						mtSpeed_L = baseSpeed_0 * SPEED_RATIO;
					}
					else if (distRight <= DIST_STD_2) {
						mcMode = 5;
						mtSpeed_R = baseSpeed_0;
						mtSpeed_L = baseSpeed_0 * SPEED_RATIO;
					}
					else if (distRight <= DIST_STD_4) {
						mcMode = 5;
						mtSpeed_R = baseSpeed_0;
						mtSpeed_L = baseSpeed_0 * SPEED_RATIO;
					}
					else if (distRight > DIST_STD_4) {
						if (distLeft >= distRight) {
							mcMode = 5;
							mtSpeed_R = baseSpeed_0;
							mtSpeed_L = baseSpeed_0 * SPEED_RATIO;
						}
						else if(distLeft < distRight) {
							mcMode = 6;
							mtSpeed_R = baseSpeed_0 * SPEED_RATIO;
							mtSpeed_L = baseSpeed_0;
						}
					}
				}
			}

			// 정면 기준 3
			else if (distCenter <= DIST_STD_3) {
				if (distLeft <= DIST_STD_1) {
					if (distRight <= DIST_STD_1) {
						if (distLeft >= distRight) {
							mcMode = 3;
							mtSpeed_R = baseSpeed_0;
							mtSpeed_L = 0;
						}
						else if (distLeft < distRight) {
							mcMode = 4;
							mtSpeed_R = 0;
							mtSpeed_L = baseSpeed_0;
						}
					}
					else if (distRight > DIST_STD_1) {
						mcMode = 6;
						mtSpeed_R = baseSpeed_0 * SPEED_RATIO;
						mtSpeed_L = baseSpeed_0;
					}
				}
				else if (distLeft <= DIST_STD_2) {
					if (distRight <= DIST_STD_1) {
						mcMode = 5;
						mtSpeed_R = baseSpeed_0;
						mtSpeed_L = baseSpeed_0 * SPEED_RATIO;
					}
					else if (distRight <= DIST_STD_2) {
						if (distLeft >= distRight) {
							mcMode = 5;
							mtSpeed_R = baseSpeed_0;
							mtSpeed_L = baseSpeed_0 * SPEED_RATIO;
						}
						else if (distLeft < distRight) {
							mcMode = 6;
							mtSpeed_R = baseSpeed_0 * SPEED_RATIO;
							mtSpeed_L = baseSpeed_0;
						}
					}
					else if (distRight <= DIST_STD_3) {
						mcMode = 6;
						mtSpeed_R = baseSpeed_0 * SPEED_RATIO;
						mtSpeed_L = baseSpeed_0;
					}
					else if (distRight > DIST_STD_3) {
						mcMode = 6;
						mtSpeed_R = baseSpeed_0 * SPEED_RATIO;
						mtSpeed_L = baseSpeed_0;
					}
				}
				else if (distLeft <= DIST_STD_3) {
					if (distRight <= DIST_STD_2) {
						mcMode = 5;
						mtSpeed_R = baseSpeed_0;
						mtSpeed_L = baseSpeed_0 * SPEED_RATIO;
					}
					else if (distRight <= DIST_STD_3) {
						if (distLeft >= distRight) {
							mcMode = 5;
							mtSpeed_R = baseSpeed_0;
							mtSpeed_L = baseSpeed_0 * SPEED_RATIO;
						}
						else if (distLeft < distRight) {
							mcMode = 6;
							mtSpeed_R = baseSpeed_0 * SPEED_RATIO;
							mtSpeed_L = baseSpeed_0;
						}
					}
					else if (distRight <= DIST_STD_4) {
						mcMode = 6;
						mtSpeed_R = baseSpeed_0 * SPEED_RATIO;
						mtSpeed_L = baseSpeed_0;
					}
					else if (distRight > DIST_STD_4) {
						mcMode = 6;
						mtSpeed_R = baseSpeed_0 * SPEED_RATIO;
						mtSpeed_L = baseSpeed_0;
					}
				}
				else if (distLeft <= DIST_STD_4) {
					if (distRight <= DIST_STD_1) {
						mcMode = 5;
						mtSpeed_R = baseSpeed_0;
						mtSpeed_L = baseSpeed_0 * SPEED_RATIO;
					}
					else if (distRight <= DIST_STD_3) {
						mcMode = 5;
						mtSpeed_R = baseSpeed_0;
						mtSpeed_L = baseSpeed_0 * SPEED_RATIO;
					}
					else if (distRight <= DIST_STD_4) {
						if (distLeft >= distRight) {
							mcMode = 5;
							mtSpeed_R = baseSpeed_0;
							mtSpeed_L = baseSpeed_0 * SPEED_RATIO;
						}
						else if (distLeft < distRight) {
							mcMode = 6;
							mtSpeed_R = baseSpeed_0 * SPEED_RATIO;
							mtSpeed_L = baseSpeed_0;
						}
					}
					else if (distRight > DIST_STD_4) {
						mcMode = 6;
						mtSpeed_R = baseSpeed_0 * SPEED_RATIO;
						mtSpeed_L = baseSpeed_0;
					}
				}
				else if (distLeft > DIST_STD_4) {
					if (distRight <= DIST_STD_1) {
						mcMode = 5;
						mtSpeed_R = baseSpeed_0;
						mtSpeed_L = baseSpeed_0 * SPEED_RATIO;
					}
					else if (distRight <= DIST_STD_2) {
						mcMode = 5;
						mtSpeed_R = baseSpeed_0;
						mtSpeed_L = baseSpeed_0 * SPEED_RATIO;
					}
					else if (distRight <= DIST_STD_4) {
						mcMode = 5;
						mtSpeed_R = baseSpeed_0;
						mtSpeed_L = baseSpeed_0 * SPEED_RATIO;
					}
					else if (distRight > DIST_STD_4) {
						mcMode = 1;
						mtSpeed_R = baseSpeed_0;
						mtSpeed_L = baseSpeed_0;
					}
				}
			}

			// 정면 기준 4
			else if (distCenter <= DIST_STD_4) {
				if (distLeft <= DIST_STD_1) {
					if (distRight <= DIST_STD_1) {
						if (distLeft >= distRight) {
							mcMode = 3;
							mtSpeed_R = baseSpeed_0;
							mtSpeed_L = 0;
						}
						else if (distLeft < distRight) {
							mcMode = 4;
							mtSpeed_R = 0;
							mtSpeed_L = baseSpeed_0;
						}
					}
					else if (distRight > DIST_STD_1) {
						mcMode = 6;
						mtSpeed_R = baseSpeed_0 * SPEED_RATIO;
						mtSpeed_L = baseSpeed_0;
					}
				}
				else if (distLeft <= DIST_STD_2) {
					if (distRight <= DIST_STD_1) {
						mcMode = 5;
						mtSpeed_R = baseSpeed_0;
						mtSpeed_L = baseSpeed_0 * SPEED_RATIO;
					}
					else if (distRight <= DIST_STD_2) {
						if (distLeft >= distRight) {
							mcMode = 5;
							mtSpeed_R = baseSpeed_0;
							mtSpeed_L = baseSpeed_0 * SPEED_RATIO;
						}
						else if (distLeft < distRight) {
							mcMode = 6;
							mtSpeed_R = baseSpeed_0 * SPEED_RATIO;
							mtSpeed_L = baseSpeed_0;
						}
					}
					else if (distRight <= DIST_STD_4) {
						mcMode = 6;
						mtSpeed_R = baseSpeed_0 * SPEED_RATIO;
						mtSpeed_L = baseSpeed_0;
					}
					else if (distRight > DIST_STD_4) {
						mcMode = 6;
						mtSpeed_R = baseSpeed_0 * SPEED_RATIO;
						mtSpeed_L = baseSpeed_0;
					}
				}
				else if (distLeft <= DIST_STD_3) {
					if (distRight <= DIST_STD_1) {
						mcMode = 5;
						mtSpeed_R = baseSpeed_0;
						mtSpeed_L = baseSpeed_0 * SPEED_RATIO;
					}
					else if (distRight <= DIST_STD_2) {
						mcMode = 5;
						mtSpeed_R = baseSpeed_0;
						mtSpeed_L = baseSpeed_0 * SPEED_RATIO;
					}
					else if (distRight <= DIST_STD_3) {
						if (distLeft >= distRight) {
							mcMode = 5;
							mtSpeed_R = baseSpeed_0;
							mtSpeed_L = baseSpeed_0 * SPEED_RATIO;
						}
						else if (distLeft < distRight) {
							mcMode = 6;
							mtSpeed_R = baseSpeed_0 * SPEED_RATIO;
							mtSpeed_L = baseSpeed_0;
						}
					}
					else if (distRight > DIST_STD_3) {
						mcMode = 6;
						mtSpeed_R = baseSpeed_0 * SPEED_RATIO;
						mtSpeed_L = baseSpeed_0;
					}
				}
				else if (distLeft <= DIST_STD_4) {
					if (distRight <= DIST_STD_2) {
						mcMode = 5;
						mtSpeed_R = baseSpeed_0;
						mtSpeed_L = baseSpeed_0 * SPEED_RATIO;
					}
					else if (distRight <= DIST_STD_3) {
						mcMode = 5;
						mtSpeed_R = baseSpeed_0;
						mtSpeed_L = baseSpeed_0 * SPEED_RATIO;
					}
					else if (distRight > DIST_STD_3) {
						mcMode = 1;
						mtSpeed_R = baseSpeed_0;
						mtSpeed_L = baseSpeed_0;
					}
				}
				else if (distLeft > DIST_STD_4) {
					if (distRight <= DIST_STD_1) {
						mcMode = 5;
						mtSpeed_R = baseSpeed_0;
						mtSpeed_L = baseSpeed_0 * SPEED_RATIO;
					}
					else if (distRight <= DIST_STD_2) {
						mcMode = 5;
						mtSpeed_R = baseSpeed_0;
						mtSpeed_L = baseSpeed_0 * SPEED_RATIO;
					}
					else if (distRight <= DIST_STD_3) {
						mcMode = 5;
						mtSpeed_R = baseSpeed_0;
						mtSpeed_L = baseSpeed_0 * SPEED_RATIO;
					}
					else if (distRight > DIST_STD_3) {
						mcMode = 1;
						mtSpeed_R = baseSpeed_0;
						mtSpeed_L = baseSpeed_0;
					}
				}
			}

			// 정면 기준 5
			else if (distCenter > DIST_STD_4) {
				if (distLeft <= DIST_STD_1) {
					if (distRight <= DIST_STD_1) {
						if (distLeft >= distRight) {
							mcMode = 5;
							mtSpeed_R = baseSpeed_0;
							mtSpeed_L = baseSpeed_0 * SPEED_RATIO;
						}
						else if (distLeft < distRight) {
							mcMode = 6;
							mtSpeed_R = baseSpeed_0 * SPEED_RATIO;
							mtSpeed_L = baseSpeed_0;
						}
					}
					else if (distRight <= DIST_STD_3) {
						mcMode = 6;
						mtSpeed_R = baseSpeed_0 * SPEED_RATIO;
						mtSpeed_L = baseSpeed_0;
					}
					else if (distRight > DIST_STD_3) {
						mcMode = 6;
						mtSpeed_R = baseSpeed_0 * SPEED_RATIO;
						mtSpeed_L = baseSpeed_0;
					}
				}
				else if (distLeft <= DIST_STD_2) {
					if (distRight <= DIST_STD_1) {
						mcMode = 5;
						mtSpeed_R = baseSpeed_0;
						mtSpeed_L = baseSpeed_0 * SPEED_RATIO;
					}
					else if (distRight <= DIST_STD_2) {
						if (distLeft >= distRight) {
							mcMode = 5;
							mtSpeed_R = baseSpeed_0;
							mtSpeed_L = baseSpeed_0 * SPEED_RATIO;
						}
						else if (distLeft < distRight) {
							mcMode = 6;
							mtSpeed_R = baseSpeed_0 * SPEED_RATIO;
							mtSpeed_L = baseSpeed_0;
						}
					}
					else if (distRight > DIST_STD_2) {
						mcMode = 6;
						mtSpeed_R = baseSpeed_0 * SPEED_RATIO;
						mtSpeed_L = baseSpeed_0;
					}
				}
				else if (distLeft <= DIST_STD_3) {
					if (distRight <= DIST_STD_1) {
						mcMode = 5;
						mtSpeed_R = baseSpeed_0;
						mtSpeed_L = baseSpeed_0 * SPEED_RATIO;
					}
					else if (distRight <= DIST_STD_2) {
						mcMode = 5;
						mtSpeed_R = baseSpeed_0;
						mtSpeed_L = baseSpeed_0 * SPEED_RATIO;
					}
					else if (distRight <= DIST_STD_3) {
						if (distLeft >= distRight) {
							mcMode = 5;
							mtSpeed_R = baseSpeed_0;
							mtSpeed_L = baseSpeed_0 * SPEED_RATIO;
						}
						else if (distLeft < distRight) {
							mcMode = 6;
							mtSpeed_R = baseSpeed_0 * SPEED_RATIO;
							mtSpeed_L = baseSpeed_0;
						}
					}
					else if (distRight > DIST_STD_3) {
						mcMode = 6;
						mtSpeed_R = baseSpeed_0 * SPEED_RATIO;
						mtSpeed_L = baseSpeed_0;
					}
				}
				else if (distLeft <= DIST_STD_4) {
					if (distRight <= DIST_STD_1) {
						mcMode = 5;
						mtSpeed_R = baseSpeed_0;
						mtSpeed_L = baseSpeed_0 * SPEED_RATIO;
					}
					else if (distRight <= DIST_STD_3) {
						mcMode = 5;
						mtSpeed_R = baseSpeed_0;
						mtSpeed_L = baseSpeed_0 * SPEED_RATIO;
					}
					else if (distRight > DIST_STD_3) {
						mcMode = 1;
						mtSpeed_R = baseSpeed_0;
						mtSpeed_L = baseSpeed_0;
					}
				}
				else if (distLeft > DIST_STD_4) {
					if (distRight <= DIST_STD_2) {
						mcMode = 5;
						mtSpeed_R = baseSpeed_0;
						mtSpeed_L = baseSpeed_0 * SPEED_RATIO;
					}
					else if (distRight <= DIST_STD_3) {
						mcMode = 5;
						mtSpeed_R = baseSpeed_0;
						mtSpeed_L = baseSpeed_0 * SPEED_RATIO;
					}
					else if (distRight > DIST_STD_3) {
						mcMode = 1;
						mtSpeed_R = baseSpeed_0;
						mtSpeed_L = baseSpeed_0;
					}
				}
			}
*/
		}

		osDelay(10);
	}
  /* USER CODE END AutoCTRTask */
}
